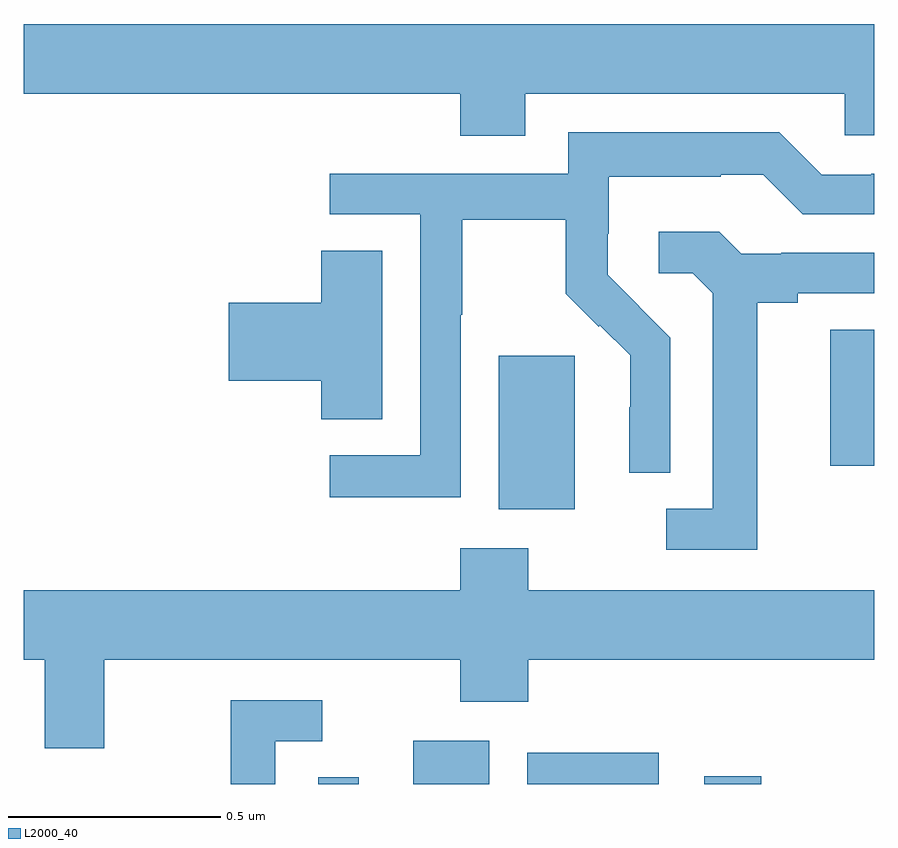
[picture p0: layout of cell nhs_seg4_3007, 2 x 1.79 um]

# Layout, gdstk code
import gdstk
lib = gdstk.Library(unit=1e-6, precision=1e-09)
def R(c, l, rs):  # rectangles x0, y0, x1, y1
    for r in rs: c.add(gdstk.rectangle(r[:2], r[2:], *l))
def P(c, l, *ps):  # polygons
    for p in ps: c.add(gdstk.Polygon(p, *l))
L2000_40 = (2000, 40)

nhs_seg4_3007 = lib.new_cell('nhs_seg4_3007')
R(nhs_seg4_3007, L2000_40, [(148.692,757.9,148.788,757.916), (148.916,757.9,149.095,758.002), (149.184,757.9,149.494,757.974), (149.6,757.9,149.735,757.918), (149.117,758.546,149.296,758.907), (149.897,758.649,150,758.969)])
P(nhs_seg4_3007, L2000_40, [(149.179,759.524),(149.931,759.524),(149.931,759.426),(150,759.426),(150,759.688),(148,759.688),(148,759.524),(149.027,759.524),(149.027,759.425),(149.179,759.425)],
  [(149.028,759.004),(149.031,759.004),(149.031,759.228),(149.275,759.228),(149.275,759.053),(149.352,758.976),(149.355,758.979),(149.426,758.909),(149.426,758.786),(149.424,758.786),(149.424,758.632),(149.52,758.632),(149.52,758.95),(149.447,759.023),(149.448,759.024),(149.374,759.098),(149.374,759.195),(149.376,759.195),(149.376,759.329),(149.639,759.329),(149.639,759.333),(149.739,759.333),(149.832,759.24),(150,759.24),(150,759.336),(149.993,759.336),(149.993,759.333),(149.877,759.333),(149.777,759.433),(149.28,759.433),(149.28,759.336),(148.719,759.336),(148.719,759.24),(148.932,759.24),(148.932,758.673),(148.719,758.673),(148.719,758.575),(149.028,758.575)],
  [(149.725,759.032),(149.821,759.032),(149.821,759.054),(150,759.054),(150,759.15),(149.782,759.15),(149.782,759.147),(149.688,759.147),(149.636,759.199),(149.493,759.199),(149.493,759.102),(149.574,759.102),(149.621,759.055),(149.621,758.547),(149.511,758.547),(149.511,758.451),(149.725,758.451)],
  [(148.843,759.155),(148.7,759.155),(148.7,759.032),(148.482,759.032),(148.482,758.849),(148.7,758.849),(148.7,758.758),(148.843,758.758)],
  [(148.189,758.192),(149.026,758.192),(149.026,758.093),(149.186,758.093),(149.186,758.192),(150,758.192),(150,758.356),(149.187,758.356),(149.187,758.455),(149.027,758.455),(149.027,758.356),(148,758.356),(148,758.192),(148.049,758.192),(148.049,757.984),(148.189,757.984)],
  [(148.591,758.001),(148.702,758.001),(148.702,758.097),(148.487,758.097),(148.487,757.9),(148.591,757.9)])

lib.write_gds('nhs_seg4_3007.gds')
